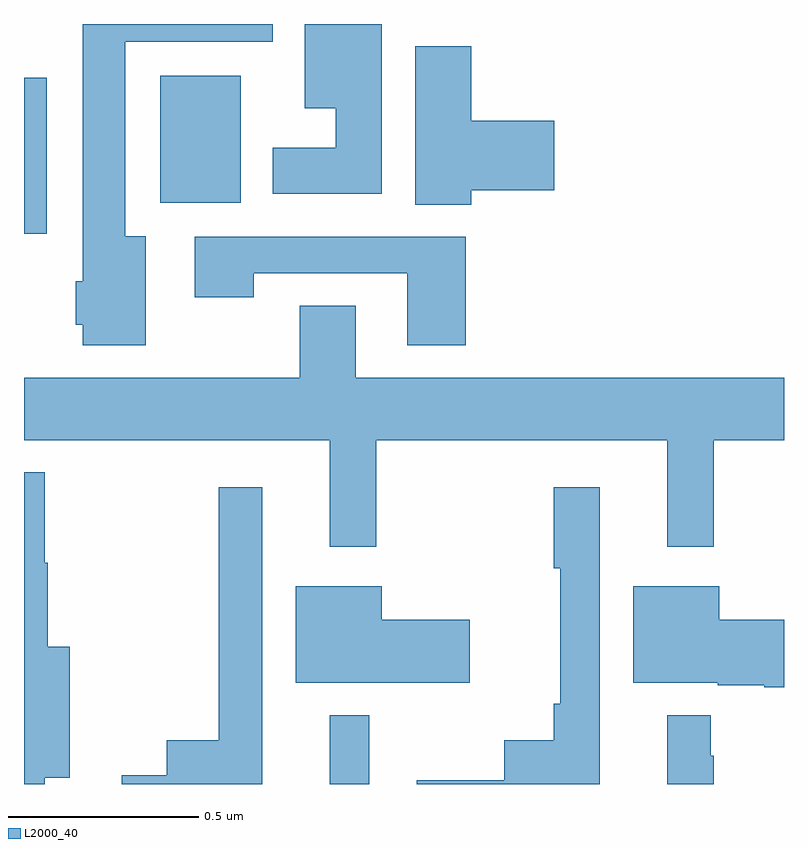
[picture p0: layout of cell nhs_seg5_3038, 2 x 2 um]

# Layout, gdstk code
import gdstk
lib = gdstk.Library(unit=1e-6, precision=1e-09)
def R(c, l, rs):  # rectangles x0, y0, x1, y1
    for r in rs: c.add(gdstk.rectangle(r[:2], r[2:], *l))
def P(c, l, *ps):  # polygons
    for p in ps: c.add(gdstk.Polygon(p, *l))
L2000_40 = (2000, 40)

nhs_seg5_3038 = lib.new_cell('nhs_seg5_3038')
R(nhs_seg5_3038, L2000_40, [(151.805,911.799,151.909,911.98), (151,913.247,151.06,913.657), (151.358,913.328,151.57,913.663)])
P(nhs_seg5_3038, L2000_40, [(151.321,913.24),(151.267,913.24),(151.267,913.752),(151.654,913.752),(151.654,913.799),(151.154,913.799),(151.154,913.122),(151.136,913.122),(151.136,913.008),(151.154,913.008),(151.154,912.954),(151.321,912.954)],
  [(151.942,913.799),(151.739,913.799),(151.739,913.577),(151.82,913.577),(151.82,913.474),(151.655,913.474),(151.655,913.352),(151.942,913.352)],
  [(152.177,913.361),(152.395,913.361),(152.395,913.544),(152.177,913.544),(152.177,913.74),(152.03,913.74),(152.03,913.324),(152.177,913.324)],
  [(152.162,913.239),(151.449,913.239),(151.449,913.08),(151.605,913.08),(151.605,913.143),(152.009,913.143),(152.009,912.954),(152.162,912.954)],
  [(151.927,912.704),(152.693,912.704),(152.693,912.423),(152.815,912.423),(152.815,912.704),(153,912.704),(153,912.868),(151.873,912.868),(151.873,913.058),(151.726,913.058),(151.726,912.868),(151,912.868),(151,912.704),(151.805,912.704),(151.805,912.423),(151.927,912.423)],
  [(151.054,911.816),(151.12,911.816),(151.12,912.16),(151.062,912.16),(151.062,912.381),(151.054,912.381),(151.054,912.619),(151,912.619),(151,911.799),(151.054,911.799)],
  [(151.627,912.58),(151.513,912.58),(151.513,911.914),(151.376,911.914),(151.376,911.822),(151.257,911.822),(151.257,911.799),(151.627,911.799)],
  [(152.515,912.58),(152.394,912.58),(152.394,912.367),(152.411,912.367),(152.411,912.01),(152.394,912.01),(152.394,911.914),(152.264,911.914),(152.264,911.809),(152.034,911.809),(152.034,911.799),(152.515,911.799)],
  [(152.173,912.231),(151.942,912.231),(151.942,912.319),(151.715,912.319),(151.715,912.065),(152.173,912.065)],
  [(153,912.231),(152.83,912.231),(152.83,912.319),(152.603,912.319),(152.603,912.065),(152.826,912.065),(152.826,912.059),(152.948,912.059),(152.948,912.053),(153,912.053)],
  [(152.815,911.873),(152.807,911.873),(152.807,911.98),(152.693,911.98),(152.693,911.799),(152.815,911.799)])

lib.write_gds('nhs_seg5_3038.gds')
